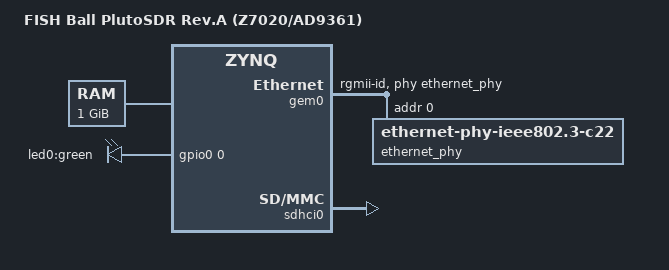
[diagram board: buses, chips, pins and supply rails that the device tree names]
// SPDX-License-Identifier: GPL-2.0
/*
 * Fishball7020 / PlutoSky - Zynq XC7Z020 + AD9361, two receive and two
 * transmit chains.
 *
 * Sold under several names. It is NOT an ADALM-Pluto, though it runs Pluto
 * firmware: XC7Z020-CLG400 rather than XC7Z010-CLG225, 1 GB of DDR3L rather
 * than 512 MB, a real Ethernet PHY on an RJ45, an AD9361 in 2R2T rather than
 * an AD9363 in 1R1T, and - on the common variant - a power amplifier on each
 * transmit port.
 *
 * WHY THIS IS AN OVERLAY AND NOT A FLAT FILE. `main` carries a 986-line tree
 * decompiled from the factory .dtb, kept flat and byte-identical because the
 * point there was proving the rebuild matched a real unit. That was the right
 * artefact for that job and it is the wrong one to maintain: numeric
 * phandles, no includes, and every ADI improvement has to be merged in by
 * hand. This file is a delta from ADI's own zynq-pluto-sdr.dtsi instead, and
 * every delta below says why it exists.
 *
 * The board's AD9361 differs from a stock Pluto in exactly nine properties.
 * That was established by parsing both trees and diffing them, not by eye.
 *
 * Copyright (C) 2026 Matthieu
 */
/dts-v1/;
#include "zynq-pluto-sdr.dtsi"

/ {
	model = "FISH Ball PlutoSDR Rev.A (Z7020/AD9361)";

	/*
	 * 1 GB. The Pluto has 512 MB.
	 *
	 * The node is "memory" and NOT "memory@0", which matters: the dtsi
	 * declares it without a unit address, so a differently-named node is
	 * a SIBLING rather than an override. Getting that wrong produced a
	 * tree with two memory nodes - 512 MB and 1 GB - and dtc reported it
	 * only as an oblique "duplicate unit-address" warning against
	 * fpga-axi@0. It built cleanly and would have booted wrong.
	 */
	memory {
		device_type = "memory";
		reg = <0x0 0x40000000>;
	};

	leds {
		compatible = "gpio-leds";

		led0 {
			label = "led0:green";
			/*
			 * MIO 0, where the Pluto's is EMIO 68. Kept on
			 * "heartbeat" deliberately: the transmitter-follows-LED
			 * behaviour is selected from userspace at boot, so that
			 * dropping it needs no device-tree change.
			 */
			gpios = <&gpio0 0 0>;
			linux,default-trigger = "heartbeat";
		};
	};
};

/*
 * Ethernet. The Pluto has none at all - it is a USB gadget - so this is an
 * addition rather than an override. RTL8211F behind an RJ45; the generic
 * clause-22 binding is enough, the PHY needs no quirks here.
 */
&gem0 {
	status = "okay";
	phy-mode = "rgmii-id";
	phy-handle = <&ethernet_phy>;

	ethernet_phy: ethernet-phy@0 {
		reg = <0>;
		compatible = "ethernet-phy-ieee802.3-c22";
	};
};

/*
 * The SD card. ADI's dtsi says `&sdhci0 { status = "disabled"; }` because an
 * ADALM-Pluto boots from QSPI and never needs Linux to see a card - this board
 * boots from SD.
 *
 * Building CONFIG_MMC is necessary and NOT sufficient: with the driver present
 * but the node disabled, the board boots perfectly and simply has no
 * /dev/mmcblk0. That takes tools/flash.sh with it, because it works by
 * mounting /dev/mmcblk0p1 on the running board - so the mistake costs a trip
 * to the card reader rather than a re-flash. dmesg shows the sdhci core and
 * platform helper loading and then nothing binding, which is the tell.
 *
 * The three xlnx,has-* properties are the factory tree's: this board wires no
 * card-detect, no write-protect and no power-enable line.
 */
&sdhci0 {
	status = "okay";
	xlnx,has-cd = <0>;
	xlnx,has-power = <0>;
	xlnx,has-wp = <0>;
};

/* 16 MB of QSPI, not the Pluto's 32 MB, so the last partition is shorter. */
&primary_flash {
	partition@qspi-linux {
		label = "qspi-linux";
		reg = <0x200000 0xE00000>; /* 14M */
	};
};

/*
 * DMA channel descriptors, which ADI's dtsi no longer carries.
 *
 * Not cosmetic. dma-axi-dmac.c reads the core's version register and, only
 * for cores >= 4.3.a, configures itself from hardware; anything older takes
 * axi_dmac_parse_dt(), which returns -ENODEV when `adi,channels` is missing.
 * This board's bitstream comes from ADI's 2018-era HDL and reports
 * "adi,axi-dmac-1.00.a", so the old path is a real possibility and a failed
 * DMA probe means nothing streams at all. The node is ignored by newer cores,
 * so including it is free insurance. Values are the factory tree's.
 */
&rx_dma {
	adi,channels {
		#address-cells = <1>;
		#size-cells = <0>;

		dma-channel@0 {
			reg = <0>;
			adi,source-bus-width = <32>;	/* from the AD9361 FIFO */
			adi,source-bus-type = <2>;	/* FIFO */
			adi,destination-bus-width = <64>;
			adi,destination-bus-type = <0>;	/* memory */
		};
	};
};

&tx_dma {
	adi,channels {
		#address-cells = <1>;
		#size-cells = <0>;

		dma-channel@0 {
			reg = <0>;
			adi,source-bus-width = <64>;
			adi,source-bus-type = <0>;	/* memory */
			adi,destination-bus-width = <32>;
			adi,destination-bus-type = <2>;	/* FIFO */
		};
	};
};

/*
 * The transmit DAC core is an AD9361 (2T), not the Pluto's AD9364 (1T).
 */
&cf_ad9364_dac_core_0 {
	compatible = "adi,axi-ad9361-dds-6.00.a";
};

/*
 * The radio itself. Nine deltas from the stock Pluto AD9363, and the first
 * one is the only one that can hurt you.
 */
&adc0_ad9364 {
	compatible = "adi,ad9361";

	/*
	 * ** SAFETY. Do not change this without reading the note. **
	 *
	 * 89.75 dB is the most attenuation the AD9361 offers - the muted
	 * state. ADI's default is 10000 (10 dB), which on a board with a
	 * power amplifier is roughly +9 dBm out of an SMA that nobody has
	 * necessarily terminated, applied by ad9361_setup() before any
	 * userspace has run. No init script can be early enough to prevent
	 * it.
	 *
	 * On `main` this is patch 0011, written after the problem was found.
	 * Here it is the default, which is strictly better: a patch can be
	 * forgotten and a default cannot. CI asserts this value.
	 */
	adi,tx-attenuation-mdB = <89750>;

	/* Two receivers and two transmitters. The whole reason for this board. */
	adi,2rx-2tx-mode-enable;

	/*
	 * LVDS digital interface. The Pluto runs the AD9361 interface in CMOS
	 * mode; this board wires it as LVDS, which is why the next three
	 * properties exist and why the receive data delay differs.
	 */
	adi,lvds-mode-enable;
	adi,lvds-rx-onchip-termination-enable;
	adi,lvds-bias-mV = <150>;
	adi,rx-data-delay = <4>;

	/* Transmit feedback clock delay for this board's routing. */
	adi,tx-fb-clock-delay = <7>;

	/*
	 * Synthesiser start frequencies, as 64-bit values. The factory tree
	 * sets both to 2.4 GHz.
	 */
	adi,rx-synthesizer-frequency-hz = /bits/ 64 <2400000000>;
	adi,tx-synthesizer-frequency-hz = /bits/ 64 <2400000000>;
};
